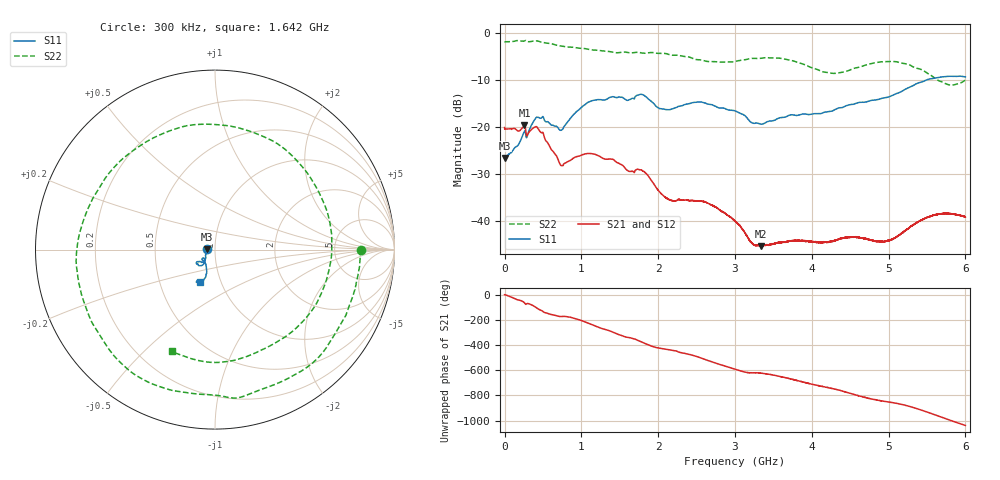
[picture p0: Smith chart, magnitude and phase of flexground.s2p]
!  8/6/2020  01:55:49
! Ref Plane: 0.000 mm
# MHZ S MA R  50
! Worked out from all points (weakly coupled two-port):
!   10001 points, 300 kHz to 6 GHz, reference 50 ohm
!   highest |S21| = -19.64 dB at 258.9 MHz (marker M1); lowest = -45.3 dB at 3.334 GHz (marker M2)
!   lowest |S11| = -26.6 dB at 300 kHz (marker M3), VSWR 1.10, Z = 45.5 + j0.0634 ohm
!   |S11| at or under -10 dB: start of sweep to 5.49 GHz
!   |S22| runs from -11.1 to -1.6 dB; largest |S21 - S12| = 0.0024
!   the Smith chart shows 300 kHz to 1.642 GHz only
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0.3  0.04686 179.2  0.09889 -0.9  0.09654 -0.7  0.8155 -0.3
258.8871  0.09081 -138.5  0.1042 -65.7  0.1042 -65.8  0.8255 -75.7
598.4701  0.1069 -141.9  0.05976 -157.5  0.05986 -157.5  0.7754 -176.2
818.6591  0.1131 -115.0  0.04284 -176.5  0.04293 -176.5  0.7122 122.9
1000.45  0.1617 -108.9  0.05025 153.5  0.0503 153.6  0.6872 72.4
1256.637  0.1958 -116.7  0.04788 92.5  0.04796 92.5  0.6503 -2.1
1540.423  0.206 -119.9  0.03901 30.6  0.03901 30.6  0.6276 -84.8
1778.611  0.2237 -119.3  0.03506 -14.4  0.03509 -14.4  0.6164 -149.9
2000.6  0.1602 -120.4  0.02126 -64.0  0.0213 -64.0  0.609 151.8
2260.987  0.1659 -103.1  0.01698 -94.7  0.01699 -94.8  0.5807 83.7
2539.973  0.1849 -98.8  0.01631 -139.5  0.01633 -139.7  0.5196 5.8
2781.761  0.1611 -99.2  0.01351 168.9  0.01348 168.9  0.4943 -67.5
3000.15  0.1492 -92.6  0.01 127.5  0.009999 127.6  0.4993 -133.4
3333.733  0.1076 -68.8  0.005417 96.7  0.005478 95.8  0.5397 138.6
3611.519  0.1267 -49.5  0.00596 66.2  0.005983 66.1  0.5363 72.4
4000.3  0.1372 -34.2  0.006028 8.7  0.006083 9.6  0.4286 -28.7
4226.489  0.1464 -20.1  0.005987 -20.2  0.00599 -20.9  0.3793 -100.7
4492.275  0.1729 -10.3  0.006747 -62.7  0.00673 -62.5  0.4032 172.9
4759.262  0.1908 -3.8  0.006314 -106.1  0.00633 -106.0  0.4714 102.2
5000.45  0.2091 5.8  0.006258 -132.6  0.006164 -132.4  0.498 46.7
5516.424  0.3224 11.2  0.01106 144.7  0.01108 144.5  0.3699 -74.7
6000  0.3423 2.5  0.01106 41.5  0.01111 41.5  0.3165 118.9
